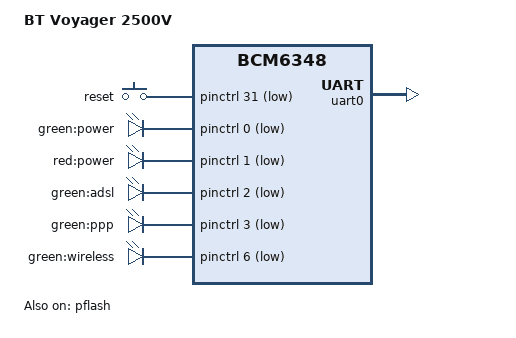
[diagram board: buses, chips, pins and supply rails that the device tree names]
#include "bcm6348.dtsi"

#include <dt-bindings/input/input.h>

/ {
	model = "BT Voyager 2500V";
	compatible = "bt,voyager-2500v-bb", "brcm,bcm6348";

	chosen {
		bootargs = "rootfstype=squashfs,jffs2 noinitrd console=ttyS0,115200";
		stdout-path = "serial0:115200n8";
	};

	keys {
		compatible = "gpio-keys-polled";
		#address-cells = <1>;
		#size-cells = <0>;
		poll-interval = <20>;

		reset {
			label = "reset";
			gpios = <&pinctrl 31 1>;
			linux,code = <KEY_RESTART>;
			debounce-interval = <60>;
		};
	};

	leds {
		compatible = "gpio-leds";

		power_green {
			label = "green:power";
			gpios = <&pinctrl 0 1>;
		};
		power_red {
			label = "red:power";
			gpios = <&pinctrl 1 1>;
		};
		adsl_green {
			label = "green:adsl";
			gpios = <&pinctrl 2 1>;
		};
		ppp_green {
			label = "green:ppp";
			gpios = <&pinctrl 3 1>;
		};
		wireless_green {
			label = "green:wireless";
			gpios = <&pinctrl 6 1>;
		};
	};
};

&pflash {
	status = "okay";

	partitions {
		compatible = "fixed-partitions";
		#address-cells = <1>;
		#size-cells = <1>;

		cfe@0 {
			label = "CFE";
			reg = <0x000000 0x010000>;
			read-only;
		};

		linux@10000 {
			label = "linux";
			reg = <0x010000 0x3e0000>;
			compatible = "brcm,bcm963xx-imagetag";
		};

		nvram@3f0000 {
			label = "nvram";
			reg = <0x3f0000 0x010000>;
		};
	};
};

&pinctrl {
	pinctrl-names = "default";
	pinctrl-0 = <&pinctrl_pci &pinctrl_ext_mii>;
};

&uart0 {
	status = "okay";
};
